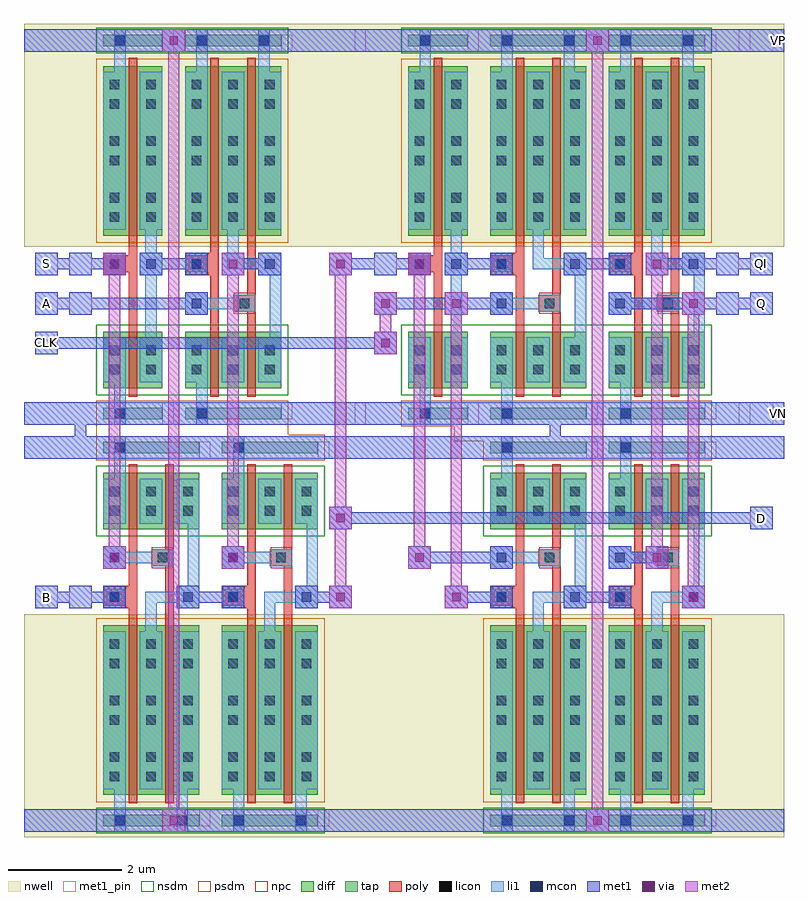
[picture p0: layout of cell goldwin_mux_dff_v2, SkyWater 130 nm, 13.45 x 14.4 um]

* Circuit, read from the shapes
.subckt goldwin_mux_dff_v2 A B CLK D Q QI S VN VP
XM1 n1 B VN VN sky130_fd_pr__nfet_01v8 w=1 l=0.15
XM2 goldwin_mux_v2_0/goldwin_nand_v2_2/A S VN VN sky130_fd_pr__nfet_01v8 w=1 l=0.15
XM3 goldwin_mux_v2_0/goldwin_nand_v2_3/A S n1 VN sky130_fd_pr__nfet_01v8 w=1 l=0.15
XM4 n2 goldwin_mux_v2_0/goldwin_nand_v2_2/A VN VN sky130_fd_pr__nfet_01v8 w=1 l=0.15
XM5 n3 goldwin_mux_v2_0/goldwin_nand_v2_3/A VN VN sky130_fd_pr__nfet_01v8 w=1 l=0.15
XM6 goldwin_mux_v2_0/goldwin_nand_v2_3/B A n2 VN sky130_fd_pr__nfet_01v8 w=1 l=0.15
XM7 D goldwin_mux_v2_0/goldwin_nand_v2_3/B n3 VN sky130_fd_pr__nfet_01v8 w=1 l=0.15
XM8 goldwin_dff_v2_1/goldwin_nand_v2_1/A D VN VN sky130_fd_pr__nfet_01v8 w=1 l=0.15
XM9 n4 CLK VN VN sky130_fd_pr__nfet_01v8 w=1 l=0.15
XM10 n5 goldwin_dff_v2_1/goldwin_nand_v2_1/A VN VN sky130_fd_pr__nfet_01v8 w=1 l=0.15
XM11 goldwin_dff_v2_1/goldwin_nand_v2_4/A D n4 VN sky130_fd_pr__nfet_01v8 w=1 l=0.15
XM12 goldwin_dff_v2_1/goldwin_nand_v2_2/A CLK n5 VN sky130_fd_pr__nfet_01v8 w=1 l=0.15
XM13 n6 goldwin_dff_v2_1/goldwin_nand_v2_4/A VN VN sky130_fd_pr__nfet_01v8 w=1 l=0.15
XM14 n7 goldwin_dff_v2_1/goldwin_nand_v2_2/A VN VN sky130_fd_pr__nfet_01v8 w=1 l=0.15
XM15 Q QI n6 VN sky130_fd_pr__nfet_01v8 w=1 l=0.15
XM16 QI Q n7 VN sky130_fd_pr__nfet_01v8 w=1 l=0.15
XM17 goldwin_mux_v2_0/goldwin_nand_v2_3/A B VP VP sky130_fd_pr__pfet_01v8 w=3 l=0.15
XM18 goldwin_mux_v2_0/goldwin_nand_v2_2/A S VP VP sky130_fd_pr__pfet_01v8 w=3 l=0.15
XM19 VP S goldwin_mux_v2_0/goldwin_nand_v2_3/A VP sky130_fd_pr__pfet_01v8 w=3 l=0.15
XM20 goldwin_mux_v2_0/goldwin_nand_v2_3/B goldwin_mux_v2_0/goldwin_nand_v2_2/A VP VP sky130_fd_pr__pfet_01v8 w=3 l=0.15
XM21 D goldwin_mux_v2_0/goldwin_nand_v2_3/A VP VP sky130_fd_pr__pfet_01v8 w=3 l=0.15
XM22 VP A goldwin_mux_v2_0/goldwin_nand_v2_3/B VP sky130_fd_pr__pfet_01v8 w=3 l=0.15
XM23 VP goldwin_mux_v2_0/goldwin_nand_v2_3/B D VP sky130_fd_pr__pfet_01v8 w=3 l=0.15
XM24 goldwin_dff_v2_1/goldwin_nand_v2_1/A D VP VP sky130_fd_pr__pfet_01v8 w=3 l=0.15
XM25 goldwin_dff_v2_1/goldwin_nand_v2_4/A CLK VP VP sky130_fd_pr__pfet_01v8 w=3 l=0.15
XM26 goldwin_dff_v2_1/goldwin_nand_v2_2/A goldwin_dff_v2_1/goldwin_nand_v2_1/A VP VP sky130_fd_pr__pfet_01v8 w=3 l=0.15
XM27 VP D goldwin_dff_v2_1/goldwin_nand_v2_4/A VP sky130_fd_pr__pfet_01v8 w=3 l=0.15
XM28 VP CLK goldwin_dff_v2_1/goldwin_nand_v2_2/A VP sky130_fd_pr__pfet_01v8 w=3 l=0.15
XM29 Q goldwin_dff_v2_1/goldwin_nand_v2_4/A VP VP sky130_fd_pr__pfet_01v8 w=3 l=0.15
XM30 QI goldwin_dff_v2_1/goldwin_nand_v2_2/A VP VP sky130_fd_pr__pfet_01v8 w=3 l=0.15
XM31 VP QI Q VP sky130_fd_pr__pfet_01v8 w=3 l=0.15
XM32 VP Q QI VP sky130_fd_pr__pfet_01v8 w=3 l=0.15
.ends

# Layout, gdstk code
import gdstk
lib = gdstk.Library(unit=1e-6, precision=1e-09)
def R(c, l, rs):  # rectangles x0, y0, x1, y1
    for r in rs: c.add(gdstk.rectangle(r[:2], r[2:], *l))
def A(c, l, x, y, w, h, nx, ny, dx, dy):  # array of equal rectangles
    R(c, l, [(x+i*dx, y+j*dy, x+i*dx+w, y+j*dy+h) for i in range(nx) for j in range(ny)])
nwell = (64, 20)
diff = (65, 20)
tap = (65, 44)
poly = (66, 20)
licon = (66, 44)
li1 = (67, 20)
mcon = (67, 44)
met1_pin = (68, 16)
met1 = (68, 20)
via = (68, 44)
met2 = (69, 20)
nsdm = (93, 44)
psdm = (94, 20)
npc = (95, 20)

goldwin_not_v2 = lib.new_cell('goldwin_not_v2')
R(goldwin_not_v2, nwell, [(-0.65,2.5,0.8,6.45)])
R(goldwin_not_v2, diff, [(-0.45,0,0.6,1), (-0.45,2.7,0.6,5.7)])
R(goldwin_not_v2, tap, [(-0.45,-0.55,0.6,-0.35), (-0.45,6.05,0.6,6.25)])
R(goldwin_not_v2, poly, [(0,-0.15,0.15,2.05), (-0.45,2.05,0.15,2.35), (0,2.35,0.15,5.85)])
R(goldwin_not_v2, licon, [(-0.235,-0.535,-0.065,-0.365), (-0.335,0.245,-0.165,0.415), (0.315,0.245,0.485,0.415), (-0.335,0.585,-0.165,0.755), (0.315,0.585,0.485,0.755), (-0.335,2.115,-0.165,2.285), (-0.335,2.945,-0.165,3.115), (0.315,2.945,0.485,3.115), (-0.335,3.285,-0.165,3.455), (0.315,3.285,0.485,3.455), (-0.335,3.945,-0.165,4.115), (0.315,3.945,0.485,4.115), (-0.335,4.285,-0.165,4.455), (0.315,4.285,0.485,4.455), (-0.335,4.945,-0.165,5.115), (0.315,4.945,0.485,5.115), (-0.335,5.285,-0.165,5.455), (0.315,5.285,0.485,5.455), (-0.235,6.065,-0.065,6.235)])
R(goldwin_not_v2, li1, [(-0.25,-0.65,-0.05,0.1), (-0.45,0.1,-0.05,0.9), (0.2,0.1,0.6,0.9), (0.3,0.9,0.5,2), (-0.45,2,-0.05,2.4), (0.2,2,0.6,2.4), (0.3,2.4,0.5,2.8), (-0.45,2.8,-0.05,5.6), (0.2,2.8,0.6,5.6), (-0.25,5.6,-0.05,6.35)])
R(goldwin_not_v2, mcon, [(-0.235,-0.535,-0.065,-0.365), (-0.335,2.115,-0.165,2.285), (0.315,2.115,0.485,2.285), (-0.235,6.065,-0.065,6.235)])
R(goldwin_not_v2, met1_pin, [(0.6,-0.65,0.8,-0.25), (-0.45,2,-0.05,2.4), (0.2,2,0.6,2.4), (0.6,5.95,0.8,6.35)])
R(goldwin_not_v2, met1, [(-0.65,-0.65,0.8,-0.25), (-0.45,2,-0.05,2.4), (0.2,2,0.6,2.4), (-0.65,5.95,0.8,6.35)])
R(goldwin_not_v2, nsdm, [(-0.575,-0.125,0.725,1.125), (-0.575,5.925,0.725,6.375)])
R(goldwin_not_v2, psdm, [(-0.575,-0.675,0.725,-0.225), (-0.575,2.575,0.725,5.825)])
R(goldwin_not_v2, npc, [(-0.435,2.015,-0.065,2.385)])
goldwin_not_v2.add(gdstk.Label('A', (-0.25,2.2), layer=68, texttype=5))
goldwin_not_v2.add(gdstk.Label('Y', (0.4,2.2), layer=68, texttype=5))
goldwin_not_v2.add(gdstk.Label('VP', (0.7,6.15), layer=68, texttype=5))
goldwin_not_v2.add(gdstk.Label('VN', (0.7,-0.45), layer=68, texttype=5))

goldwin_nand_v2 = lib.new_cell('goldwin_nand_v2')
R(goldwin_nand_v2, nwell, [(-0.65,2.5,1.45,6.45)])
R(goldwin_nand_v2, diff, [(-0.45,0,1.25,1), (-0.45,2.7,1.25,5.7)])
R(goldwin_nand_v2, tap, [(-0.45,-0.55,1.25,-0.35), (-0.45,6.05,1.25,6.25)])
R(goldwin_nand_v2, poly, [(0,-0.15,0.15,2), (0.65,-0.15,0.8,1.35), (0.4,1.35,0.8,1.65), (0.65,1.65,0.8,5.85), (-0.05,2,0.15,2.05), (-0.45,2.05,0.15,2.35), (-0.05,2.35,0.15,2.4), (0,2.4,0.15,5.85)])
A(goldwin_nand_v2, licon, -0.335, 0.245, 0.17, 0.17, 3, 2, 0.65, 0.34)
A(goldwin_nand_v2, licon, -0.335, 2.945, 0.17, 0.17, 3, 2, 0.65, 0.34)
A(goldwin_nand_v2, licon, -0.335, 3.945, 0.17, 0.17, 3, 2, 0.65, 0.34)
A(goldwin_nand_v2, licon, -0.335, 4.945, 0.17, 0.17, 3, 2, 0.65, 0.34)
R(goldwin_nand_v2, licon, [(-0.235,-0.535,-0.065,-0.365), (0.515,1.415,0.685,1.585), (-0.335,2.115,-0.165,2.285), (-0.235,6.065,-0.065,6.235), (0.865,6.065,1.035,6.235)])
A(goldwin_nand_v2, li1, -0.45, 0.1, 0.4, 0.8, 3, 1, 0.65, 0)
A(goldwin_nand_v2, li1, -0.45, 2.8, 0.4, 2.8, 3, 1, 0.65, 0)
R(goldwin_nand_v2, li1, [(-0.25,-0.65,-0.05,0.1), (1.05,0.9,1.25,2), (-0.45,1.3,-0.05,1.4), (0.4,1.35,0.8,1.4), (-0.45,1.4,0.8,1.6), (-0.45,1.6,-0.05,1.7), (0.4,1.6,0.8,1.65), (-0.45,2,-0.05,2.4), (0.85,2,1.25,2.1), (0.3,2.1,1.25,2.3), (0.3,2.3,0.5,2.8), (0.85,2.3,1.25,2.4), (-0.25,5.6,-0.05,6.35), (0.85,5.6,1.05,6.35)])
R(goldwin_nand_v2, mcon, [(-0.235,-0.535,-0.065,-0.365), (-0.335,1.415,-0.165,1.585), (-0.335,2.115,-0.165,2.285), (0.965,2.115,1.135,2.285), (-0.235,6.065,-0.065,6.235), (0.865,6.065,1.035,6.235)])
R(goldwin_nand_v2, met1_pin, [(1.25,-0.55,1.45,-0.25), (-0.45,1.3,-0.05,1.7), (-0.45,2,-0.05,2.4), (0.85,2,1.25,2.4), (1.25,5.95,1.45,6.25)])
R(goldwin_nand_v2, met1, [(-0.65,-0.65,1.45,-0.25), (-0.45,1.3,-0.05,1.7), (-0.45,2,-0.05,2.4), (0.85,2,1.25,2.4), (-0.65,5.95,1.45,6.35)])
R(goldwin_nand_v2, nsdm, [(-0.575,-0.125,1.375,1.125), (-0.575,5.925,1.375,6.375)])
R(goldwin_nand_v2, psdm, [(-0.575,-0.675,1.375,-0.225), (-0.575,2.575,1.375,5.825)])
R(goldwin_nand_v2, npc, [(0.415,1.315,0.785,1.685), (-0.435,2.015,-0.065,2.385)])
goldwin_nand_v2.add(gdstk.Label('A', (-0.25,2.2), layer=68, texttype=5))
goldwin_nand_v2.add(gdstk.Label('B', (-0.25,1.5), layer=68, texttype=5))
goldwin_nand_v2.add(gdstk.Label('Y', (1.05,2.2), layer=68, texttype=5))
goldwin_nand_v2.add(gdstk.Label('VP', (1.35,6.1), layer=68, texttype=5))
goldwin_nand_v2.add(gdstk.Label('VN', (1.35,-0.4), layer=68, texttype=5))

goldwin_mux_v2 = lib.new_cell('goldwin_mux_v2')
R(goldwin_mux_v2, nwell, [(-0.6,-7.3,0,-3.35), (4.2,-7.3,4.8,-3.35), (-0.6,3.15,0,7.1), (3.55,3.15,4.85,7.1)])
R(goldwin_mux_v2, met1_pin, [(-0.4,-3.25,0,-2.85), (4.2,-3.25,4.6,-2.85), (4.65,0,4.85,0.4), (-0.4,1.95,0,2.35), (-0.4,2.65,0,3.05), (4.65,6.6,4.85,7)])
R(goldwin_mux_v2, met1, [(-0.6,-7.2,0,-6.8), (4.2,-7.2,4.8,-6.8), (1.3,-7.15,1.6,-6.85), (-0.4,-3.25,0,-3.15), (4.2,-3.25,4.6,-3.15), (3.65,-3.2,3.95,-2.9), (-0.4,-3.15,0.2,-2.95), (1.9,-3.15,2.3,-2.95), (4,-3.15,4.6,-2.95), (-0.4,-2.95,0,-2.85), (4.2,-2.95,4.6,-2.85), (0.25,-2.5,0.55,-2.2), (2.35,-2.5,2.65,-2.2), (-0.6,-0.6,0,-0.2), (4.2,-0.6,4.85,-0.2), (-0.3,-0.2,-0.1,0), (-0.6,0,0,0.4), (3.55,0,4.85,0.4), (-0.4,1.95,0,2.05), (-0.4,2.05,1.65,2.25), (-0.4,2.25,0,2.35), (-0.4,2.65,0,2.75), (2.3,2.65,2.7,2.75), (0.25,2.7,0.55,3), (-0.4,2.75,0.2,2.95), (1.25,2.75,1.65,2.95), (2.3,2.75,2.95,2.95), (-0.4,2.95,0,3.05), (2.3,2.95,2.7,3.05), (-0.6,6.6,0,7), (3.55,6.6,4.85,7), (1.3,6.65,1.6,6.95)])
R(goldwin_mux_v2, via, [(1.375,-7.075,1.525,-6.925), (0.325,-2.425,0.475,-2.275), (2.425,-2.425,2.575,-2.275), (0.325,2.775,0.475,2.925), (2.425,2.775,2.575,2.925), (1.375,6.725,1.525,6.875)])
R(goldwin_mux_v2, met2, [(1.25,-7.2,1.65,-6.8), (1.35,-6.8,1.55,6.6), (0.2,-2.55,0.6,-2.15), (2.3,-2.55,2.7,-2.15), (0.3,-2.15,0.5,2.65), (2.4,-2.15,2.6,2.65), (0.2,2.65,0.6,3.05), (2.3,2.65,2.7,3.05), (1.25,6.6,1.65,7)])
R(goldwin_mux_v2, nsdm, [(2.025,-7.225,2.175,-6.775), (2.025,-1.975,2.175,-0.725), (1.375,0.525,1.525,1.775), (1.375,6.575,1.525,7.025)])
R(goldwin_mux_v2, psdm, [(2.025,-6.675,2.175,-3.425), (2.025,-0.625,2.175,-0.175), (0.075,-0.175,3.475,-0.025), (1.375,-0.025,1.525,0.425), (1.375,3.225,1.525,6.475)])
goldwin_mux_v2.add(gdstk.Reference(goldwin_not_v2, (0.65,0.65)))
goldwin_mux_v2.add(gdstk.Reference(goldwin_nand_v2, (0.65,-0.85), x_reflection=True))
goldwin_mux_v2.add(gdstk.Reference(goldwin_nand_v2, (2.1,0.65)))
goldwin_mux_v2.add(gdstk.Reference(goldwin_nand_v2, (2.75,-0.85), x_reflection=True))
goldwin_mux_v2.add(gdstk.Label('A', (-0.2,2.15), layer=68, texttype=5))
goldwin_mux_v2.add(gdstk.Label('B', (-0.2,-3.05), layer=68, texttype=5))
goldwin_mux_v2.add(gdstk.Label('S', (-0.2,2.85), layer=68, texttype=5))
goldwin_mux_v2.add(gdstk.Label('D', (4.4,-3.05), layer=68, texttype=5))
goldwin_mux_v2.add(gdstk.Label('VP', (4.75,6.8), layer=68, texttype=5))
goldwin_mux_v2.add(gdstk.Label('VN', (4.75,0.2), layer=68, texttype=5))

goldwin_dff_v2 = lib.new_cell('goldwin_dff_v2')
R(goldwin_dff_v2, nwell, [(-0.6,-7.35,1.45,-3.4), (5.65,-7.35,6.25,-3.4), (-0.6,3.1,0,7.05), (5.65,3.1,6.25,7.05)])
R(goldwin_dff_v2, met1_pin, [(6.05,-0.05,6.25,0.35), (-0.4,1.9,0,2.3), (5.65,1.9,6.05,2.3), (-0.4,2.6,0,3), (5.65,2.6,6.05,3), (6.05,6.55,6.25,6.95)])
R(goldwin_dff_v2, met1, [(-0.6,-7.25,1.45,-6.85), (5.65,-7.25,6.25,-6.85), (3.4,-7.2,3.7,-6.9), (0.85,-3.3,1.25,-3.2), (5.1,-3.25,5.4,-2.95), (0.85,-3.2,1.65,-3), (3.35,-3.2,3.75,-3), (0.85,-3,1.25,-2.9), (0.2,-2.6,0.6,-2.5), (4.4,-2.6,4.8,-2.5), (0.2,-2.5,1.65,-2.3), (4.15,-2.5,4.8,-2.3), (0.2,-2.3,0.6,-2.2), (4.4,-2.3,4.8,-2.2), (-0.6,-0.65,1.45,-0.25), (5.65,-0.65,6.25,-0.25), (2.7,-0.25,2.9,0), (-0.6,-0.05,0,0.35), (5.65,-0.05,6.25,0.35), (-0.4,1.9,0,2), (0.85,1.9,1.25,2), (5.05,1.9,5.45,2), (5.65,1.9,6.05,2), (-0.4,2,1.65,2.2), (4.15,2,6.05,2.2), (-0.4,2.2,0,2.3), (0.85,2.2,1.25,2.3), (5.05,2.2,5.45,2.3), (5.65,2.2,6.05,2.3), (-0.4,2.6,0,2.7), (4.4,2.6,4.8,2.7), (5.65,2.6,6.05,2.7), (0.25,2.65,0.55,2.95), (-0.4,2.7,0.2,2.9), (1.25,2.7,1.65,2.9), (3.35,2.7,3.75,2.9), (4.4,2.7,5.05,2.9), (5.45,2.7,6.05,2.9), (-0.4,2.9,0,3), (4.4,2.9,4.8,3), (5.65,2.9,6.05,3), (-0.6,6.55,0,6.95), (5.65,6.55,6.25,6.95), (3.4,6.6,3.7,6.9)])
R(goldwin_dff_v2, via, [(3.475,-7.125,3.625,-6.975), (0.975,-3.175,1.125,-3.025), (5.175,-3.175,5.325,-3.025), (0.325,-2.475,0.475,-2.325), (4.525,-2.475,4.675,-2.325), (0.975,2.025,1.125,2.175), (5.175,2.025,5.325,2.175), (0.325,2.725,0.475,2.875), (4.525,2.725,4.675,2.875), (3.475,6.675,3.625,6.825)])
R(goldwin_dff_v2, met2, [(3.35,-7.25,3.75,-6.85), (3.45,-6.85,3.65,6.55), (0.85,-3.3,1.25,-2.9), (5.05,-3.3,5.45,-2.9), (0.95,-2.9,1.15,1.9), (5.15,-2.9,5.35,1.9), (0.2,-2.6,0.6,-2.2), (4.4,-2.6,4.8,-2.2), (0.3,-2.2,0.5,2.6), (4.5,-2.2,4.7,2.6), (0.85,1.9,1.25,2.3), (5.05,1.9,5.45,2.3), (0.2,2.6,0.6,3), (4.4,2.6,4.8,3), (3.35,6.55,3.75,6.95)])
R(goldwin_dff_v2, nsdm, [(3.475,-7.275,3.625,-6.825), (3.475,-2.025,3.625,-0.775), (1.375,0.475,1.525,1.725), (3.475,0.475,3.625,1.725), (1.375,6.525,1.525,6.975), (3.475,6.525,3.625,6.975)])
R(goldwin_dff_v2, psdm, [(3.475,-6.725,3.625,-3.475), (3.475,-0.675,3.625,-0.225), (1.01,-0.34,1.525,-0.225), (1.01,-0.225,5.575,-0.075), (1.375,-0.075,1.525,0.375), (3.475,-0.075,3.625,0.375), (1.375,3.175,1.525,6.425), (3.475,3.175,3.625,6.425)])
goldwin_dff_v2.add(gdstk.Reference(goldwin_not_v2, (0.65,0.6)))
goldwin_dff_v2.add(gdstk.Reference(goldwin_nand_v2, (2.1,0.6)))
goldwin_dff_v2.add(gdstk.Reference(goldwin_nand_v2, (4.2,0.6)))
goldwin_dff_v2.add(gdstk.Reference(goldwin_nand_v2, (2.1,-0.9), x_reflection=True))
goldwin_dff_v2.add(gdstk.Reference(goldwin_nand_v2, (4.2,-0.9), x_reflection=True))
goldwin_dff_v2.add(gdstk.Label('D', (-0.2,2.8), layer=68, texttype=5))
goldwin_dff_v2.add(gdstk.Label('CLK', (-0.2,2.1), layer=68, texttype=5))
goldwin_dff_v2.add(gdstk.Label('Q', (5.85,2.1), layer=68, texttype=5))
goldwin_dff_v2.add(gdstk.Label('QI', (5.85,2.8), layer=68, texttype=5))
goldwin_dff_v2.add(gdstk.Label('VP', (6.15,6.75), layer=68, texttype=5))
goldwin_dff_v2.add(gdstk.Label('VN', (6.15,0.15), layer=68, texttype=5))

goldwin_mux_dff_v2 = lib.new_cell('goldwin_mux_dff_v2')
R(goldwin_mux_dff_v2, nwell, [(-0.6,0,0,3.95), (12.25,0,12.85,3.95), (-0.6,10.45,0,14.4), (12.25,10.45,12.85,14.4)])
A(goldwin_mux_dff_v2, met1_pin, -0.4, 8.55, 0.4, 0.4, 1, 3, 0, 0.7)
R(goldwin_mux_dff_v2, met1_pin, [(-0.4,4.05,0,4.45), (12.25,5.45,12.65,5.85), (12.65,7.3,12.85,7.7), (12.25,9.25,12.65,9.65), (12.25,9.95,12.65,10.35), (12.65,13.9,12.85,14.3)])
R(goldwin_mux_dff_v2, met1, [(-0.6,0.1,0,0.5), (12.25,0.1,12.85,0.5), (-0.4,4.05,0,4.15), (4.8,4.05,5.2,4.45), (-0.4,4.15,0.2,4.35), (-0.4,4.35,0,4.45), (4.8,5.45,5.2,5.55), (12.25,5.45,12.65,5.55), (4.8,5.55,12.65,5.75), (4.8,5.75,5.2,5.85), (12.25,5.75,12.65,5.85), (-0.6,6.7,0,7.1), (12.25,6.7,12.85,7.1), (-0.6,7.3,0,7.7), (12.25,7.3,12.85,7.7), (-0.4,8.55,0,8.65), (5.6,8.55,6,8.65), (-0.4,8.65,6,8.85), (-0.4,8.85,0,8.95), (5.6,8.85,6,8.95), (-0.4,9.25,0,9.35), (12.25,9.25,12.65,9.35), (5.65,9.3,5.95,9.6), (-0.4,9.35,0.2,9.55), (12.05,9.35,12.65,9.55), (-0.4,9.55,0,9.65), (12.25,9.55,12.65,9.65), (-0.4,9.95,0,10.05), (4.8,9.95,5.2,10.05), (12.25,9.95,12.65,10.05), (-0.4,10.05,0.2,10.25), (4.8,10.05,5.6,10.25), (12.05,10.05,12.65,10.25), (-0.4,10.25,0,10.35), (4.8,10.25,5.2,10.35), (12.25,10.25,12.65,10.35), (-0.6,13.9,0,14.3), (12.25,13.9,12.85,14.3)])
R(goldwin_mux_dff_v2, via, [(4.925,4.175,5.075,4.325), (4.925,5.575,5.075,5.725), (5.725,8.675,5.875,8.825), (5.725,9.375,5.875,9.525), (4.925,10.075,5.075,10.225)])
R(goldwin_mux_dff_v2, met2, [(4.8,4.05,5.2,4.45), (4.9,4.45,5.1,5.45), (4.8,5.45,5.2,5.85), (4.9,5.85,5.1,9.95), (5.6,8.55,6,8.95), (5.7,8.95,5.9,9.25), (5.6,9.25,6,9.65), (4.8,9.95,5.2,10.35)])
goldwin_mux_dff_v2.add(gdstk.Reference(goldwin_mux_v2, (0.6,7.3)))
goldwin_mux_dff_v2.add(gdstk.Reference(goldwin_dff_v2, (6,7.35)))
goldwin_mux_dff_v2.add(gdstk.Label('CLK', (-0.2,8.75), layer=68, texttype=5))
goldwin_mux_dff_v2.add(gdstk.Label('A', (-0.2,9.45), layer=68, texttype=5))
goldwin_mux_dff_v2.add(gdstk.Label('B', (-0.2,4.25), layer=68, texttype=5))
goldwin_mux_dff_v2.add(gdstk.Label('S', (-0.2,10.15), layer=68, texttype=5))
goldwin_mux_dff_v2.add(gdstk.Label('D', (12.45,5.65), layer=68, texttype=5))
goldwin_mux_dff_v2.add(gdstk.Label('Q', (12.45,9.45), layer=68, texttype=5))
goldwin_mux_dff_v2.add(gdstk.Label('QI', (12.45,10.15), layer=68, texttype=5))
goldwin_mux_dff_v2.add(gdstk.Label('VP', (12.75,14.1), layer=68, texttype=5))
goldwin_mux_dff_v2.add(gdstk.Label('VN', (12.75,7.5), layer=68, texttype=5))

lib.write_gds('goldwin_mux_dff_v2.gds')
